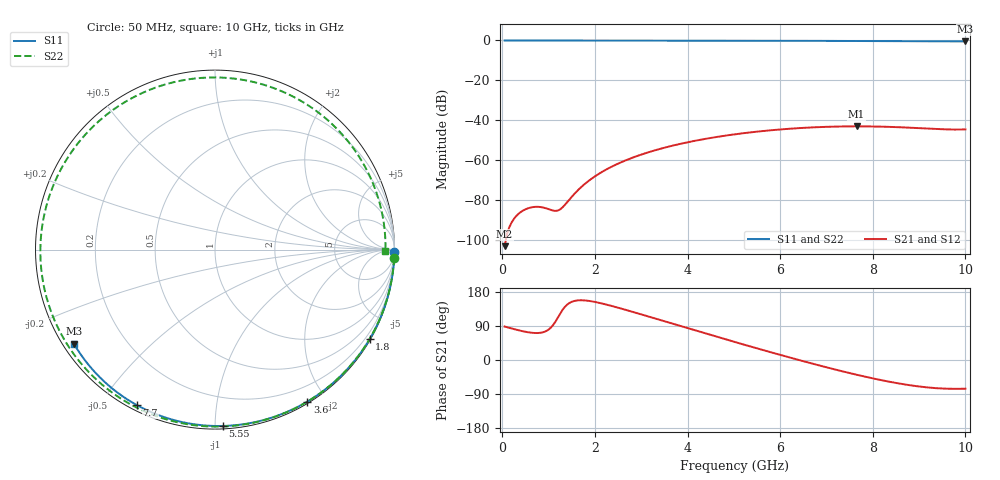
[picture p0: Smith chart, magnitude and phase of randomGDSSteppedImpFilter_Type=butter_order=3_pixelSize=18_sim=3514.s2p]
! freq	dB(S11)	phase(S11)	dB(S12)	phase(S12)
!  dB(S21)	phase(S21)	dB(S22)	phase(S22)
!S-par simulation data
#  GHz  S  DB  R 50
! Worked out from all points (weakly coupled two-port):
!   200 points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, 50 MHz to 10 GHz, reference 50 ohm
!   highest |S21| = -42.97 dB at 7.65 GHz (marker M1); lowest = -102.9 dB at 50 MHz (marker M2)
!   lowest |S11| = -0.5 dB at 10 GHz (marker M3), VSWR 35.16, Z = 1.55 - j15.1 ohm
!   |S11| at or under -10 dB: nowhere
!   |S22| runs from -0.4 to 0.0 dB; largest |S21 - S12| = 0
!   S11 on the Smith chart (normalised r, x): 50 MHz: open; 1.8 GHz: 0.03, -3.71; 3.6 GHz: 0.02, -1.78; 5.55 GHz: 0.02, -1.04; 7.7 GHz: 0.02, -0.62; 10 GHz: 0.03, -0.30
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0.05  -0.00 -0.9  -102.93 88.3  -102.93 88.3  -0.00 -2.7
0.35  -0.01 -6.0  -86.76 78.5  -86.76 78.5  -0.03 -18.5
0.65  -0.02 -11.0  -83.42 71.7  -83.42 71.7  -0.05 -34.0
1.05  -0.02 -17.7  -84.81 85.6  -84.81 85.6  -0.07 -54.0
1.4  -0.03 -23.6  -80.94 146.1  -80.94 146.1  -0.09 -70.7
1.75  -0.04 -29.3  -72.40 157.5  -72.40 157.5  -0.11 -86.4
1.8  -0.04 -30.1  -71.43 157.0  -71.43 157.0  -0.12 -88.5
2.45  -0.05 -40.7  -62.16 139.7  -62.16 139.7  -0.15 -115.1
2.95  -0.06 -48.6  -57.50 122.2  -57.50 122.2  -0.17 -133.6
3.4  -0.07 -55.7  -54.28 105.8  -54.28 105.8  -0.19 -149.3
3.6  -0.08 -58.8  -53.07 98.6  -53.07 98.6  -0.20 -156.0
4.3  -0.10 -69.4  -49.59 73.2  -49.59 73.2  -0.24 -178.6
5.05  -0.12 -80.4  -46.87 46.4  -46.87 46.4  -0.27 158.2
5.55  -0.14 -87.5  -45.50 29.0  -45.50 29.0  -0.30 142.9
6.15  -0.17 -95.9  -44.26 8.5  -44.26 8.5  -0.32 124.4
6.7  -0.20 -103.4  -43.49 -9.7  -43.49 -9.7  -0.35 107.3
7.2  -0.23 -110.0  -43.09 -25.5  -43.09 -25.5  -0.36 91.4
7.65  -0.26 -116.0  -42.97 -38.9  -42.97 -38.9  -0.37 76.8
7.7  -0.27 -116.6  -42.97 -40.3  -42.97 -40.3  -0.37 75.2
8.35  -0.32 -125.1  -43.23 -57.2  -43.23 -57.2  -0.39 53.9
9.2  -0.40 -136.0  -44.10 -72.6  -44.10 -72.6  -0.40 25.8
10  -0.49 -146.3  -44.50 -75.8  -44.50 -75.8  -0.45 -0.3
